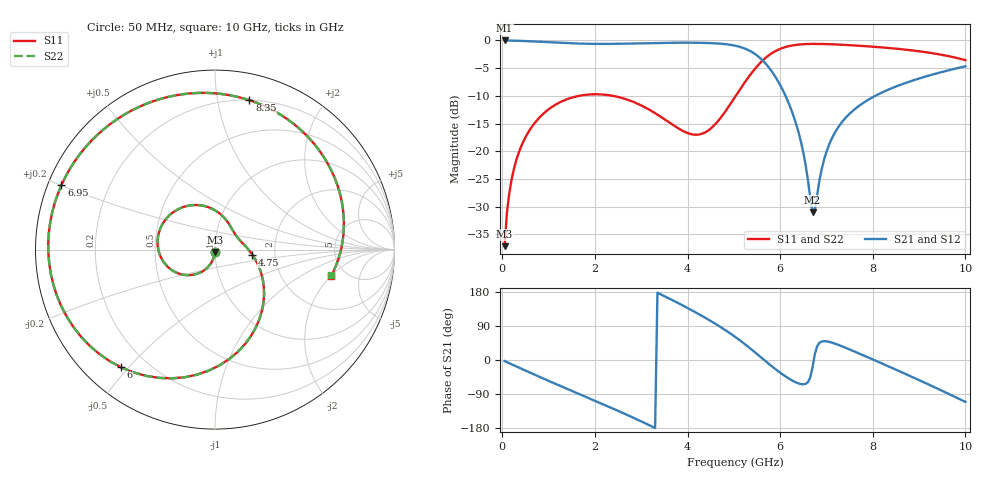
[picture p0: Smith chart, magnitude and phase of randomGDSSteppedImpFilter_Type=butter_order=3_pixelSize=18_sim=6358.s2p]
! freq	dB(S11)	phase(S11)	dB(S12)	phase(S12)
!  dB(S21)	phase(S21)	dB(S22)	phase(S22)
!S-par simulation data
#  GHz  S  DB  R 50
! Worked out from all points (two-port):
!   200 points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, 50 MHz to 10 GHz, reference 50 ohm
!   highest |S21| = -0.01 dB at 50 MHz (marker M1); lowest = -31.0 dB at 6.7 GHz (marker M2)
!   |S21| within 3 dB of the highest: start of sweep to 5.543 GHz
!   lowest |S11| = -37.1 dB at 50 MHz (marker M3), VSWR 1.03, Z = 49.9 - j1.39 ohm
!   |S11| at or under -10 dB: start of sweep to 1.66 GHz; 2.381 GHz to 5.042 GHz (2.661 GHz wide, 71.7 % of centre)
!   |S22| runs from -37.1 to -0.6 dB; largest |S21 - S12| = 0
!   S11 on the Smith chart (normalised r, x): 50 MHz: 1.00, -0.03; 4.75 GHz: 1.52, -0.09; 6 GHz: 0.11, -0.48; 6.95 GHz: 0.04, +0.20; 8.35 GHz: 0.20, +1.24; 10 GHz: 3.84, -2.01
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0.05  -37.14 -92.6  -0.01 -2.9  -0.01 -2.9  -37.14 -92.6
0.1  -31.13 -95.6  -0.01 -5.7  -0.01 -5.7  -31.13 -95.6
0.2  -25.15 -101.4  -0.03 -11.3  -0.03 -11.3  -25.15 -101.4
0.5  -17.49 -118.5  -0.12 -27.9  -0.12 -27.9  -17.49 -118.5
1.15  -11.59 -153.6  -0.39 -63.0  -0.39 -63.0  -11.59 -153.6
1.75  -9.87 174.9  -0.59 -94.5  -0.59 -94.5  -9.87 174.9
2.5  -10.21 135.4  -0.61 -134.2  -0.61 -134.2  -10.21 135.5
3.4  -13.67 84.6  -0.44 174.6  -0.44 174.6  -13.67 84.8
4.05  -16.86 43.8  -0.41 133.9  -0.41 133.9  -16.86 44.1
4.75  -13.59 -7.7  -0.62 84.1  -0.62 84.1  -13.59 -7.4
5.05  -9.90 -33.3  -0.99 59.1  -0.99 59.1  -9.90 -33.1
5.5  -4.70 -77.3  -2.71 15.8  -2.71 15.8  -4.70 -77.2
5.75  -2.72 -103.4  -4.82 -9.6  -4.82 -9.6  -2.72 -103.3
6  -1.52 -128.6  -8.05 -33.5  -8.05 -33.5  -1.52 -128.5
6.4  -0.75 -163.7  -16.69 -61.9  -16.69 -61.9  -0.75 -163.7
6.7  -0.63 174.0  -31.03 -18.6  -31.03 -18.6  -0.63 174.0
6.95  -0.65 157.3  -21.46 49.7  -21.46 49.7  -0.65 157.3
7.2  -0.73 141.8  -16.39 42.5  -16.39 42.5  -0.73 141.8
7.65  -0.93 115.6  -12.15 20.0  -12.15 20.0  -0.93 115.7
8.35  -1.37 77.0  -8.84 -17.3  -8.84 -17.3  -1.37 77.1
9.2  -2.19 30.8  -6.37 -64.3  -6.37 -64.3  -2.19 30.9
10  -3.56 -12.7  -4.68 -110.6  -4.68 -110.6  -3.56 -12.5
